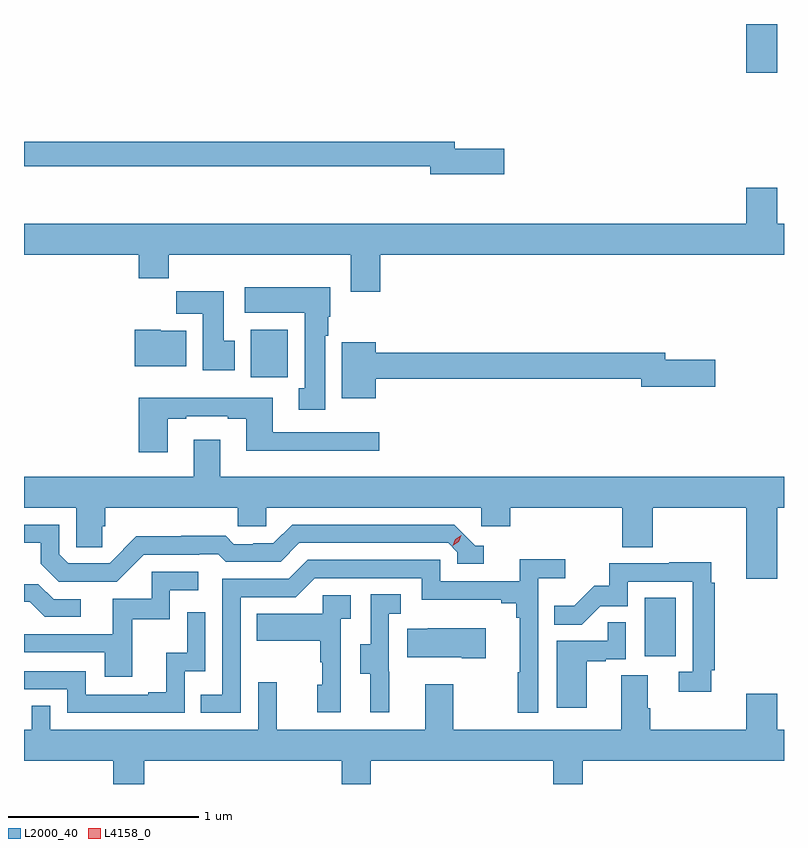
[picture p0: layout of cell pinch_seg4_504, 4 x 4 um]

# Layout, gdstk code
import gdstk
lib = gdstk.Library(unit=1e-6, precision=1e-09)
def R(c, l, rs):  # rectangles x0, y0, x1, y1
    for r in rs: c.add(gdstk.rectangle(r[:2], r[2:], *l))
def P(c, l, *ps):  # polygons
    for p in ps: c.add(gdstk.Polygon(p, *l))
L2000_40 = (2000, 40)
L4158_0 = (4158, 0)

pinch_seg4_504 = lib.new_cell('pinch_seg4_504')
R(pinch_seg4_504, L2000_40, [(991.646,758.742,991.81,759.049), (989.573,760.212,989.769,760.462), (992.18,761.814,992.344,762.07)])
P(pinch_seg4_504, L2000_40, [(990.907,761.414),(990.646,761.414),(990.646,761.45),(988.38,761.45),(988.38,761.322),(990.518,761.322),(990.518,761.279),(990.907,761.279)],
  [(988.38,760.856),(988.985,760.856),(988.985,760.732),(989.141,760.732),(989.141,760.856),(990.101,760.856),(990.101,760.662),(990.254,760.662),(990.254,760.856),(992.38,760.856),(992.38,761.02),(992.344,761.02),(992.344,761.209),(992.18,761.209),(992.18,761.02),(988.38,761.02)],
  [(989.965,760.43),(989.98,760.43),(989.98,760.53),(989.992,760.53),(989.992,760.684),(989.541,760.684),(989.541,760.55),(989.858,760.55),(989.858,760.153),(989.825,760.153),(989.825,760.041),(989.965,760.041)],
  [(989.488,760.404),(989.431,760.404),(989.431,760.663),(989.182,760.663),(989.182,760.544),(989.321,760.544),(989.321,760.248),(989.488,760.248)],
  [(989.233,760.456),(989.1,760.456),(989.1,760.462),(988.964,760.462),(988.964,760.268),(989.233,760.268)],
  [(990.232,760.204),(991.628,760.204),(991.628,760.162),(992.017,760.162),(992.017,760.304),(991.756,760.304),(991.756,760.34),(990.232,760.34),(990.232,760.396),(990.053,760.396),(990.053,760.1),(990.232,760.1)],
  [(989.137,759.993),(989.233,759.993),(989.233,760.005),(989.453,760.005),(989.453,759.993),(989.549,759.993),(989.549,759.824),(990.25,759.824),(990.25,759.921),(989.689,759.921),(989.689,760.102),(988.985,760.102),(988.985,759.816),(989.137,759.816)],
  [(992.344,759.524),(992.38,759.524),(992.38,759.688),(989.413,759.688),(989.413,759.883),(989.273,759.883),(989.273,759.688),(988.38,759.688),(988.38,759.524),(988.656,759.524),(988.656,759.316),(988.793,759.316),(988.793,759.426),(988.808,759.426),(988.808,759.524),(989.505,759.524),(989.505,759.426),(989.655,759.426),(989.655,759.524),(990.786,759.524),(990.786,759.426),(990.938,759.426),(990.938,759.524),(991.529,759.524),(991.529,759.316),(991.689,759.316),(991.689,759.524),(992.18,759.524),(992.18,759.15),(992.344,759.15)],
  [(989.01,759.276),(989.303,759.276),(989.303,759.279),(989.402,759.279),(989.441,759.24),(989.73,759.24),(989.829,759.339),(990.612,759.339),(990.66,759.291),(990.66,759.228),(990.799,759.228),(990.799,759.324),(990.756,759.324),(990.645,759.435),(989.792,759.435),(989.693,759.336),(989.586,759.336),(989.586,759.333),(989.483,759.333),(989.441,759.376),(989.208,759.376),(989.208,759.373),(988.972,759.373),(988.83,759.231),(988.614,759.231),(988.566,759.279),(988.566,759.435),(988.38,759.435),(988.38,759.339),(988.469,759.339),(988.469,759.229),(988.563,759.135),(988.869,759.135)],
  [(989.52,759.054),(989.811,759.054),(989.91,759.153),(990.474,759.153),(990.474,759.041),(990.893,759.041),(990.893,759.022),(990.97,759.022),(990.97,758.945),(990.989,758.945),(990.989,758.657),(990.978,758.657),(990.978,758.445),(991.086,758.445),(991.086,759.152),(991.228,759.152),(991.228,759.254),(990.989,759.254),(990.989,759.138),(990.57,759.138),(990.57,759.249),(989.873,759.249),(989.774,759.15),(989.424,759.15),(989.424,758.541),(989.311,758.541),(989.311,758.445),(989.52,758.445)],
  [(991.997,758.668),(992.015,758.668),(992.015,759.128),(991.997,759.128),(991.997,759.236),(991.777,759.236),(991.777,759.231),(991.459,759.231),(991.459,759.114),(991.382,759.114),(991.275,759.007),(991.171,759.007),(991.171,758.908),(991.315,758.908),(991.413,759.006),(991.557,759.006),(991.557,759.135),(991.899,759.135),(991.899,758.661),(991.827,758.661),(991.827,758.556),(991.997,758.556)],
  [(988.949,758.937),(989.148,758.937),(989.148,759.09),(989.296,759.09),(989.296,759.186),(989.052,759.186),(989.052,759.045),(988.847,759.045),(988.847,758.859),(988.38,758.859),(988.38,758.763),(988.805,758.763),(988.805,758.634),(988.949,758.634)],
  [(988.678,759.042),(988.536,759.042),(988.456,759.122),(988.38,759.122),(988.38,759.03),(988.409,759.03),(988.49,758.949),(988.678,758.949)],
  [(990.302,758.661),(990.3,758.661),(990.3,758.965),(990.364,758.965),(990.364,759.068),(990.204,759.068),(990.204,758.805),(990.149,758.805),(990.149,758.65),(990.203,758.65),(990.203,758.448),(990.302,758.448)],
  [(990.048,758.939),(990.1,758.939),(990.1,759.063),(989.952,759.063),(989.952,758.965),(989.605,758.965),(989.605,758.825),(989.94,758.825),(989.94,758.711),(989.95,758.711),(989.95,758.592),(989.924,758.592),(989.924,758.448),(990.048,758.448)],
  [(989.226,758.664),(989.334,758.664),(989.334,758.974),(989.238,758.974),(989.238,758.762),(989.129,758.762),(989.129,758.554),(989.033,758.554),(989.033,758.541),(988.704,758.541),(988.704,758.664),(988.38,758.664),(988.38,758.568),(988.608,758.568),(988.608,758.445),(989.226,758.445)],
  [(991.342,758.715),(991.442,758.715),(991.442,758.727),(991.548,758.727),(991.548,758.921),(991.453,758.921),(991.453,758.823),(991.184,758.823),(991.184,758.472),(991.342,758.472)],
  [(990.811,758.89),(990.505,758.89),(990.505,758.887),(990.397,758.887),(990.397,758.738),(990.683,758.738),(990.683,758.731),(990.811,758.731)],
  [(989.014,758.192),(990.053,758.192),(990.053,758.07),(990.205,758.07),(990.205,758.192),(991.165,758.192),(991.165,758.07),(991.322,758.07),(991.322,758.192),(992.38,758.192),(992.38,758.356),(992.344,758.356),(992.344,758.545),(992.18,758.545),(992.18,758.356),(991.676,758.356),(991.676,758.468),(991.663,758.468),(991.663,758.642),(991.523,758.642),(991.523,758.356),(990.639,758.356),(990.639,758.596),(990.491,758.596),(990.491,758.356),(989.711,758.356),(989.711,758.605),(989.613,758.605),(989.613,758.356),(988.518,758.356),(988.518,758.483),(988.422,758.483),(988.422,758.356),(988.38,758.356),(988.38,758.192),(988.85,758.192),(988.85,758.07),(989.014,758.07)])
P(pinch_seg4_504, L4158_0, [(990.636,759.324),(990.636,759.325),(990.651,759.358),(990.681,759.379),(990.682,759.379),(990.682,759.378),(990.667,759.345),(990.636,759.324)])

lib.write_gds('pinch_seg4_504.gds')
